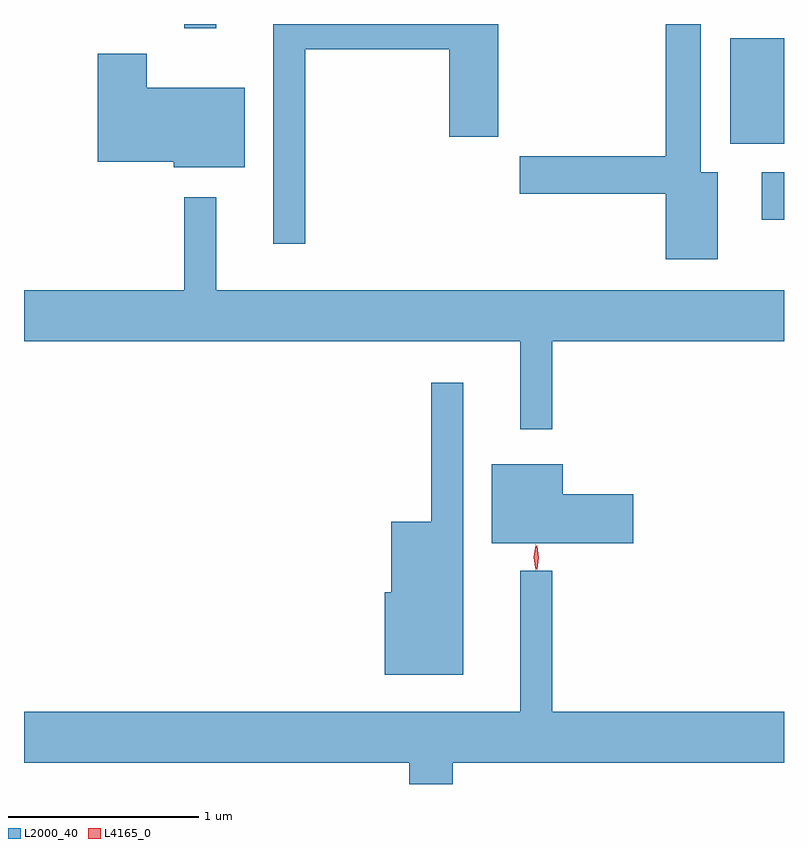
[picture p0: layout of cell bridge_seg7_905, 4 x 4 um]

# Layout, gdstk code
import gdstk
lib = gdstk.Library(unit=1e-6, precision=1e-09)
def R(c, l, rs):  # rectangles x0, y0, x1, y1
    for r in rs: c.add(gdstk.rectangle(r[:2], r[2:], *l))
def P(c, l, *ps):  # polygons
    for p in ps: c.add(gdstk.Polygon(p, *l))
L2000_40 = (2000, 40)
L4165_0 = (4165, 0)

bridge_seg7_905 = lib.new_cell('bridge_seg7_905')
R(bridge_seg7_905, L2000_40, [(602.081,1672.776,602.198,1673.024), (601.916,1673.176,602.198,1673.729), (599.041,1673.783,599.209,1673.805)])
P(bridge_seg7_905, L2000_40, [(601.849,1673.024),(601.759,1673.024),(601.759,1673.805),(601.576,1673.805),(601.576,1673.109),(600.806,1673.109),(600.806,1672.911),(601.576,1672.911),(601.576,1672.566),(601.849,1672.566)],
  [(599.679,1673.671),(600.436,1673.671),(600.436,1673.211),(600.694,1673.211),(600.694,1673.805),(599.511,1673.805),(599.511,1672.648),(599.679,1672.648)],
  [(599.359,1673.469),(598.844,1673.469),(598.844,1673.649),(598.586,1673.649),(598.586,1673.081),(598.986,1673.081),(598.986,1673.051),(599.359,1673.051)],
  [(600.979,1672.136),(602.198,1672.136),(602.198,1672.404),(599.209,1672.404),(599.209,1672.893),(599.041,1672.893),(599.041,1672.404),(598.198,1672.404),(598.198,1672.136),(600.811,1672.136),(600.811,1671.673),(600.979,1671.673)],
  [(600.509,1671.918),(600.341,1671.918),(600.341,1671.184),(600.131,1671.184),(600.131,1670.814),(600.096,1670.814),(600.096,1670.381),(600.509,1670.381)],
  [(601.404,1671.329),(601.034,1671.329),(601.034,1671.489),(600.661,1671.489),(600.661,1671.071),(601.404,1671.071)],
  [(600.454,1669.916),(602.198,1669.916),(602.198,1670.184),(600.979,1670.184),(600.979,1670.928),(600.811,1670.928),(600.811,1670.184),(598.198,1670.184),(598.198,1669.916),(600.226,1669.916),(600.226,1669.805),(600.454,1669.805)])
P(bridge_seg7_905, L4165_0, [(600.898,1670.933),(600.897,1670.934),(600.888,1670.996),(600.897,1671.059),(600.898,1671.06),(600.898,1671.059),(600.908,1670.996),(600.898,1670.934)],
  [(600.892,1670.93),(600.892,1670.93),(600.882,1670.998),(600.891,1671.065),(600.891,1671.066),(600.892,1671.065),(600.902,1670.998),(600.892,1670.93)])

lib.write_gds('bridge_seg7_905.gds')
